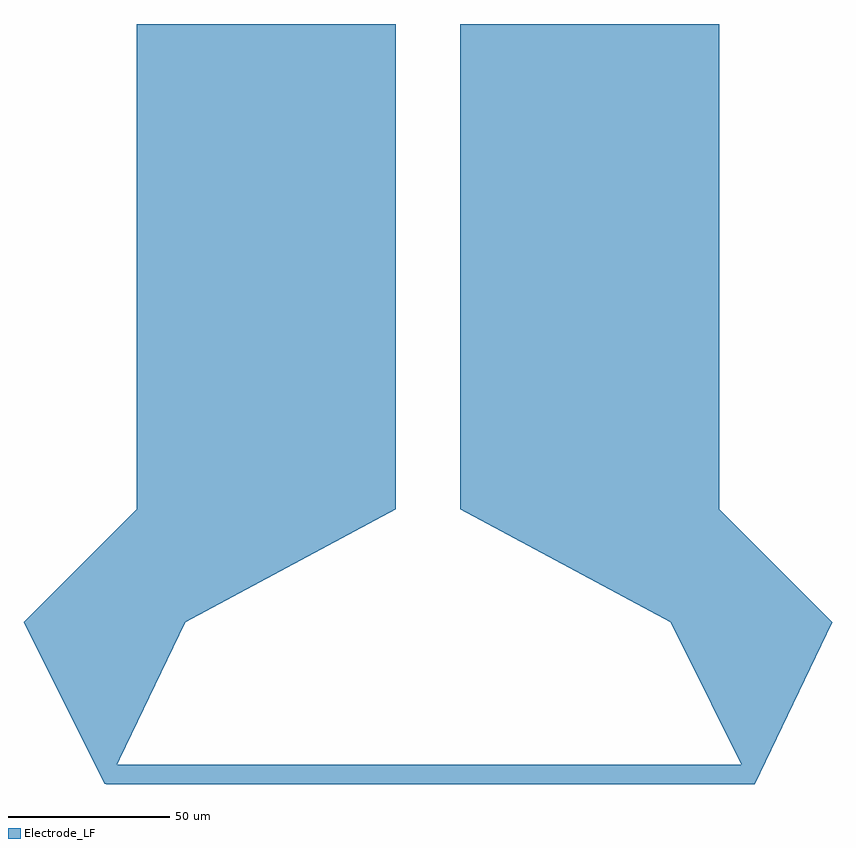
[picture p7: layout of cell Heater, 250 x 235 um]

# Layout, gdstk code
import gdstk
lib = gdstk.Library(unit=1e-6, precision=1e-09)
def R(c, l, rs):  # rectangles x0, y0, x1, y1
    for r in rs: c.add(gdstk.rectangle(r[:2], r[2:], *l))
def P(c, l, *ps):  # polygons
    for p in ps: c.add(gdstk.Polygon(p, *l))
Electrode_LF = (13, 0)

heater = lib.new_cell('Heater')
R(heater, Electrode_LF, [(-99.587,-141.178,100.413,-135.178), (-90.086,-56.174,-10.086,93.826), (9.914,-56.174,89.914,93.826)])
P(heater, Electrode_LF, [(74.916,-91.178),(9.914,-56.174),(89.914,-56.174),(124.916,-91.178)],
  [(-100.086,-141.174),(-125.086,-91.174),(-75.086,-91.174),(-99.086,-141.174)],
  [(-100.086,-141.174),(-125.086,-91.174),(-75.086,-91.174),(-99.086,-141.174)],
  [(-125.086,-91.174),(-90.086,-56.174),(-10.086,-56.174),(-75.086,-91.174)],
  [(99.916,-141.178),(74.916,-91.178),(124.916,-91.178),(100.916,-141.178)],
  [(99.916,-141.178),(74.916,-91.178),(124.916,-91.178),(100.916,-141.178)])

lib.write_gds('Heater.gds')
